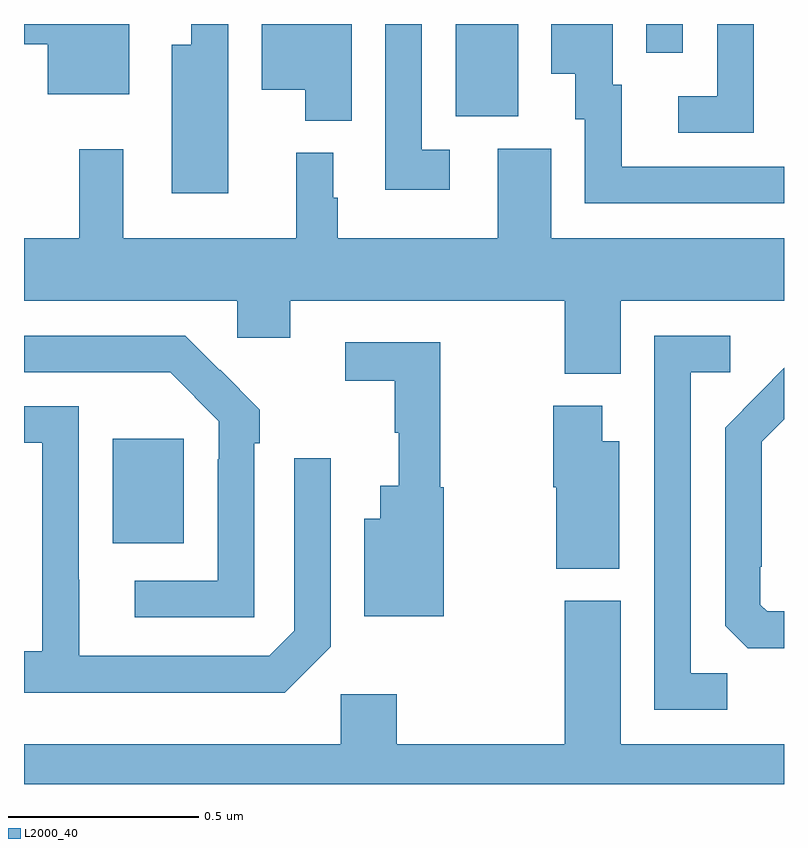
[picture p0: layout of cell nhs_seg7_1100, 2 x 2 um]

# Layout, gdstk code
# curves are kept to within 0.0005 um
import gdstk
lib = gdstk.Library(unit=1e-6, precision=1e-09)
def R(c, l, rs):  # rectangles x0, y0, x1, y1
    for r in rs: c.add(gdstk.rectangle(r[:2], r[2:], *l))
def P(c, l, *ps):  # polygons
    for p in ps: c.add(gdstk.Polygon(p, *l))
L2000_40 = (2000, 40)

nhs_seg7_1100 = lib.new_cell('nhs_seg7_1100')
R(nhs_seg7_1100, L2000_40, [(126.233,1010.633,126.421,1010.908), (127.136,1011.757,127.3,1012), (127.638,1011.924,127.734,1012)])
P(nhs_seg7_1100, L2000_40, [(127.92,1012),(127.824,1012),(127.824,1011.81),(127.722,1011.81),(127.722,1011.714),(127.92,1011.714)],
  [(128,1011.624),(127.573,1011.624),(127.573,1011.84),(127.549,1011.84),(127.549,1012),(127.388,1012),(127.388,1011.869),(127.451,1011.869),(127.451,1011.75),(127.476,1011.75),(127.476,1011.528),(128,1011.528)],
  [(127.12,1011.669),(127.047,1011.669),(127.047,1012),(126.951,1012),(126.951,1011.564),(127.12,1011.564)],
  [(126.538,1012),(126.44,1012),(126.44,1011.946),(126.389,1011.946),(126.389,1011.554),(126.538,1011.554)],
  [(126.277,1012),(126,1012),(126,1011.947),(126.062,1011.947),(126.062,1011.815),(126.277,1011.815)],
  [(126.862,1012),(126.626,1012),(126.626,1011.827),(126.74,1011.827),(126.74,1011.746),(126.862,1011.746)],
  [(127.57,1011.272),(128,1011.272),(128,1011.436),(127.387,1011.436),(127.387,1011.672),(127.247,1011.672),(127.247,1011.436),(126.826,1011.436),(126.826,1011.543),(126.814,1011.543),(126.814,1011.661),(126.716,1011.661),(126.716,1011.436),(126.261,1011.436),(126.261,1011.67),(126.145,1011.67),(126.145,1011.436),(126,1011.436),(126,1011.272),(126.561,1011.272),(126.561,1011.174),(126.7,1011.174),(126.7,1011.272),(127.423,1011.272),(127.423,1011.08),(127.57,1011.08)],
  [(127.851,1010.291),(127.755,1010.291),(127.755,1011.084),(127.858,1011.084),(127.858,1011.18),(127.659,1011.18),(127.659,1010.196),(127.851,1010.196)],
  [(126.606,1010.897),(126.621,1010.897),(126.621,1010.985),(126.516,1011.09),(126.515,1011.089),(126.424,1011.18),(126,1011.18),(126,1011.084),(126.385,1011.084),(126.513,1010.955),(126.513,1010.855),(126.51,1010.855),(126.51,1010.535),(126.291,1010.535),(126.291,1010.439),(126.606,1010.439)],
  [(127.104,1010.781),(127.096,1010.781),(127.096,1011.162),(126.846,1011.162),(126.846,1011.061),(126.975,1011.061),(126.975,1010.925),(126.986,1010.925),(126.986,1010.785),(126.938,1010.785),(126.938,1010.698),(126.896,1010.698),(126.896,1010.441),(127.104,1010.441)],
  [(128,1010.454),(127.956,1010.454),(127.938,1010.472),(127.938,1010.572),(127.941,1010.572),(127.941,1010.901),(128,1010.96),(128,1011.095),(127.845,1010.938),(127.845,1010.416),(127.904,1010.357),(128,1010.357)],
  [(127.567,1010.902),(127.522,1010.902),(127.522,1010.995),(127.393,1010.995),(127.393,1010.781),(127.4,1010.781),(127.4,1010.567),(127.567,1010.567)],
  [(126.807,1010.361),(126.807,1010.857),(126.711,1010.857),(126.711,1010.403),(126.645,1010.337),(126.145,1010.337),(126.145,1010.537),(126.144,1010.537),(126.144,1010.994),(126,1010.994),(126,1010.898),(126.048,1010.898),(126.048,1010.35),(126,1010.35),(126,1010.24),(126.686,1010.24)],
  [(128,1010.104),(127.57,1010.104),(127.57,1010.482),(127.423,1010.482),(127.423,1010.104),(126.981,1010.104),(126.981,1010.236),(126.834,1010.236),(126.834,1010.104),(126,1010.104),(126,1010),(128,1010)])

lib.write_gds('nhs_seg7_1100.gds')
